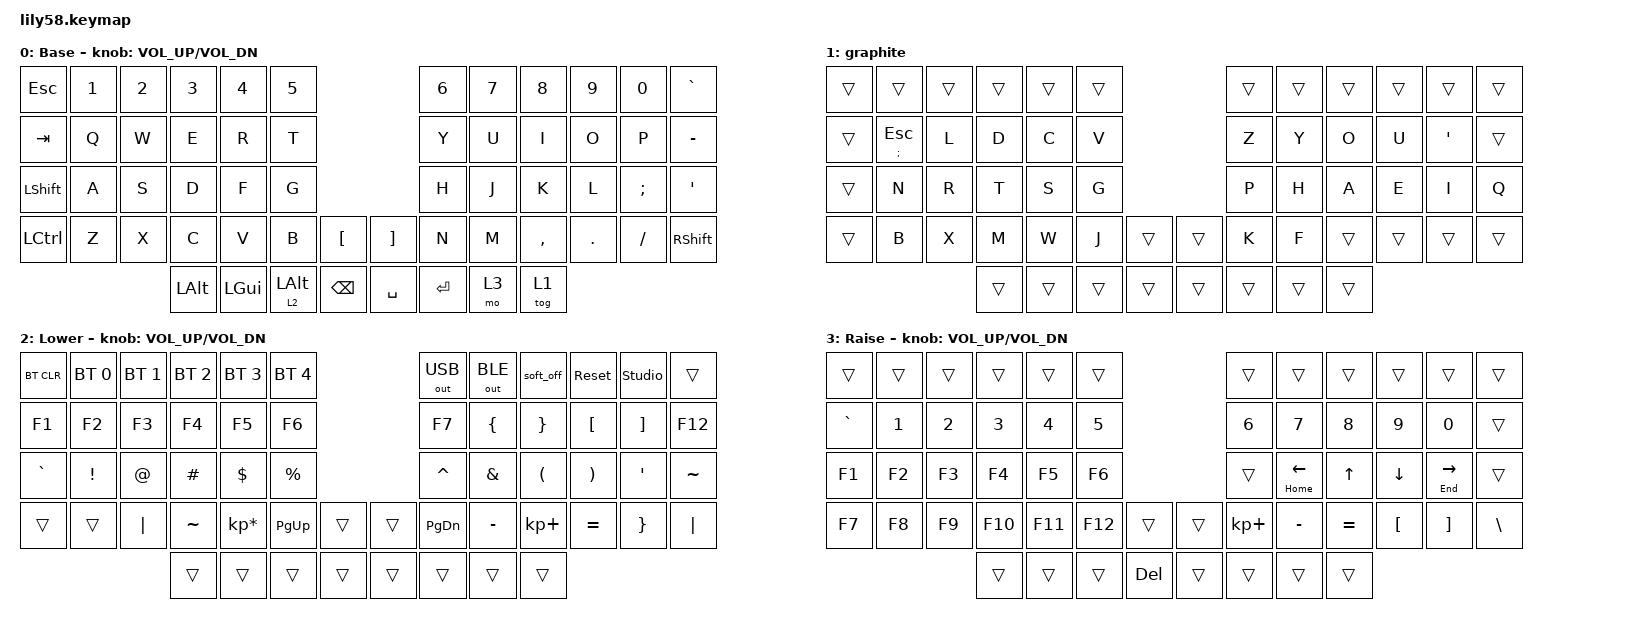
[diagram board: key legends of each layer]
/*
 * Copyright (c) 2020 The ZMK Contributors
 *
 * SPDX-License-Identifier: MIT
 */

#include <behaviors.dtsi>
#include <dt-bindings/zmk/bt.h>
#include <dt-bindings/zmk/keys.h>
#include <dt-bindings/zmk/outputs.h>

// #include <dt-bindings/zmk/rgb.h>

/ {
    combos {
        compatible = "zmk,combos";

        Escape {
            bindings = <&kp ESC>;
            key-positions = <53 54>;
        };
    };

    behaviors {
        motap: motap {
            compatible = "zmk,behavior-hold-tap";
            label = "MOTAP";
            bindings = <&mo>, <&sk>;

            #binding-cells = <2>;
            tapping-term-ms = <200>;
        };
    };

    keymap {
        compatible = "zmk,keymap";

        default_layer {
            // ------------------------------------------------------------------------------------------------------------
            // |  ESC  |  1  |  2  |  3   |  4   |  5   |                   |  6   |  7    |  8    |  9   |   0   |   `   |
            // |  TAB  |  Q  |  W  |  E   |  R   |  T   |                   |  Y   |  U    |  I    |  O   |   P   |   -   |
            // |  CTRL |  A  |  S  |  D   |  F   |  G   |                   |  H   |  J    |  K    |  L   |   ;   |   '   |
            // | SHIFT |  Z  |  X  |  C   |  V   |  B   |   "["  |  |  "]"  |  N   |  M    |  ,    |  .   |   /   | SHIFT |
            //                     | ALT  | GUI  | LOWER|  SPACE |  | ENTER | RAISE| BSPC  | GUI   |

            display-name = "Base";
            bindings = <
&kp ESC           &kp N1  &kp N2  &kp N3    &kp N4    &kp N5                                         &kp N6     &kp N7  &kp N8     &kp N9   &kp N0         &kp GRAVE
&kp TAB           &kp Q   &kp W   &kp E     &kp R     &kp T                                          &kp Y      &kp U   &kp I      &kp O    &kp P          &kp MINUS
&kp LEFT_SHIFT    &kp A   &kp S   &kp D     &kp F     &kp G                                          &kp H      &kp J   &kp K      &kp L    &kp SEMICOLON  &kp SQT
&kp LEFT_CONTROL  &kp Z   &kp X   &kp C     &kp V     &kp B              &kp LBKT         &kp RBKT   &kp N      &kp M   &kp COMMA  &kp DOT  &kp FSLH       &kp RSHFT
                                  &kp LALT  &kp LGUI  &motap 2 LEFT_ALT  &kp BACKSPACE    &kp SPACE  &kp ENTER  &mo 3   &tog 1
            >;

            sensor-bindings = <&inc_dec_kp C_VOL_UP C_VOL_DN>;
        };

        graphite {
            bindings = <
&trans  &trans             &trans  &trans  &trans  &trans                    &trans  &trans  &trans  &trans  &trans   &trans
&trans  &mt SEMICOLON ESC  &kp L   &kp D   &kp C   &kp V                     &kp Z   &kp Y   &kp O   &kp U   &kp SQT  &trans
&trans  &kp N              &kp R   &kp T   &kp S   &kp G                     &kp P   &kp H   &kp A   &kp E   &kp I    &kp Q
&trans  &kp B              &kp X   &kp M   &kp W   &kp J   &trans    &trans  &kp K   &kp F   &trans  &trans  &trans   &trans
                                   &trans  &trans  &trans  &trans    &trans  &trans  &trans  &trans
            >;
        };

        lower_layer {
            // ------------------------------------------------------------------------------------------------------------
            // | BTCLR | BT1 | BT2 |  BT3 |  BT4 |  BT5 |                   |      |       |       |      |       |       |
            // |  F1   |  F2 |  F3 |  F4  |  F5  |  F6  |                   |  F7  |  F8   |  F9   |  F10 |  F11  |  F12  |
            // |   `   |  !  |  @  |  #   |  $   |  %   |                   |  ^   |  &    |  *    |  (   |   )   |   ~   |
            // |       |     |     |      |      |      |        |  |       |      |  _    |  +    |  {   |   }   |  "|"  |
            //                     |      |      |      |        |  |       |      |       |       |

            display-name = "Lower";
            bindings = <
&bt BT_CLR  &bt BT_SEL 0  &bt BT_SEL 1  &bt BT_SEL 2  &bt BT_SEL 3     &bt BT_SEL 4                    &out OUT_USB  &out OUT_BLE    &soft_off        &sys_reset        &studio_unlock     &trans
&kp F1      &kp F2        &kp F3        &kp F4        &kp F5           &kp F6                          &kp F7        &kp LEFT_BRACE  &kp RIGHT_BRACE  &kp LEFT_BRACKET  &kp RIGHT_BRACKET  &kp F12
&kp GRAVE   &kp EXCL      &kp AT        &kp HASH      &kp DOLLAR       &kp PRCNT                       &kp CARET     &kp AMPS        &kp LPAR         &kp RPAR          &kp APOSTROPHE     &kp TILDE
&trans      &trans        &kp PIPE      &kp TILDE     &kp KP_MULTIPLY  &kp PG_UP     &trans    &trans  &kp PG_DN     &kp MINUS       &kp KP_PLUS      &kp EQUAL         &kp RBRC           &kp PIPE
                                        &trans        &trans           &trans        &trans    &trans  &trans        &trans          &trans
            >;

            sensor-bindings = <&inc_dec_kp C_VOL_UP C_VOL_DN>;
        };

        raise_layer {
            // ------------------------------------------------------------------------------------------------------------
            // |       |     |     |      |      |      |                   |      |       |       |      |       |       |
            // |   `   |  1  |  2  |  3   |  4   |  5   |                   |  6   |   7   |   8   |  9   |   0   |       |
            // |   F1  |  F2 |  F3 |  F4  |  F5  |  F6  |                   |      |   <-  |   v   |  ^   |  ->   |       |
            // |   F7  |  F8 |  F9 |  F10 |  F11 |  F12 |        |  |       |  +   |   -   |   =   |  [   |   ]   |   \   |
            //                     |      |      |      |        |  |       |      |       |       |

            display-name = "Raise";
            bindings = <
&trans     &trans  &trans  &trans   &trans   &trans                         &trans       &trans               &trans        &trans    &trans         &trans
&kp GRAVE  &kp N1  &kp N2  &kp N3   &kp N4   &kp N5                         &kp N6       &kp N7               &kp N8        &kp N9    &kp N0         &trans
&kp F1     &kp F2  &kp F3  &kp F4   &kp F5   &kp F6                         &trans       &mt HOME LEFT_ARROW  &kp UP_ARROW  &kp DOWN  &mt END RIGHT  &trans
&kp F7     &kp F8  &kp F9  &kp F10  &kp F11  &kp F12  &trans        &trans  &kp KP_PLUS  &kp MINUS            &kp EQUAL     &kp LBKT  &kp RBKT       &kp BSLH
                           &trans   &trans   &trans   &kp DELETE    &trans  &trans       &trans               &trans
            >;

            sensor-bindings = <&inc_dec_kp C_VOL_UP C_VOL_DN>;
        };
    };
};
